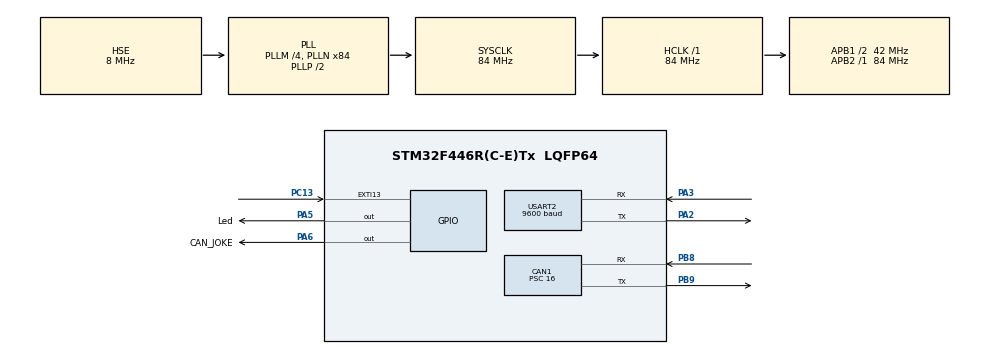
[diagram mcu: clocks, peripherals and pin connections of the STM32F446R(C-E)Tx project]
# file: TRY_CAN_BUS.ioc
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CAN1.BS1=CAN_BS1_4TQ
CAN1.BS2=CAN_BS2_2TQ
CAN1.CalculateBaudRate=375000
CAN1.CalculateTimeBit=2666.66
CAN1.CalculateTimeQuantum=380.95238095238096
CAN1.NART=ENABLE
CAN1.Prescaler=16
Mcu.Family=STM32F4
Mcu.Name=STM32F446R(C-E)Tx
Mcu.Package=LQFP64
NVIC.CAN1_RX0_IRQn=true\:0\:0\:false\:false\:true\:true\:true
NVIC.CAN1_RX1_IRQn=true\:0\:0\:false\:false\:true\:true\:true
NVIC.CAN1_SCE_IRQn=true\:0\:0\:false\:false\:true\:true\:true
NVIC.CAN1_TX_IRQn=true\:0\:0\:false\:false\:true\:true\:true
NVIC.EXTI15_10_IRQn=true\:0\:0\:false\:false\:true\:true\:true
NVIC.PriorityGroup=NVIC_PRIORITYGROUP_0
NVIC.USART2_IRQn=true\:0\:0\:false\:false\:true\:true\:true
PA2.Mode=Asynchronous
PA2.Signal=USART2_TX
PA3.Mode=Asynchronous
PA3.Signal=USART2_RX
PA5.GPIO_Label=Led
PA5.Signal=GPIO_Output
PA6.GPIO_Label=CAN_JOKE
PA6.Signal=GPIO_Output
PB8.GPIO_PuPd=GPIO_NOPULL
PB8.GPIO_Speed=GPIO_SPEED_FREQ_HIGH
PB8.Mode=CAN_Activate
PB8.Signal=CAN1_RX
PB9.Mode=CAN_Activate
PB9.Signal=CAN1_TX
PC13.GPIO_ModeDefaultEXTI=GPIO_MODE_IT_FALLING
PC13.GPIO_PuPd=GPIO_NOPULL
PC13.Signal=GPXTI13
PC14-OSC32_IN.Mode=LSE-External-Oscillator
PC14-OSC32_IN.Signal=RCC_OSC32_IN
PC15-OSC32_OUT.Mode=LSE-External-Oscillator
PC15-OSC32_OUT.Signal=RCC_OSC32_OUT
PH0-OSC_IN.Mode=HSE-External-Oscillator
PH0-OSC_IN.Signal=RCC_OSC_IN
PH1-OSC_OUT.Mode=HSE-External-Oscillator
PH1-OSC_OUT.Signal=RCC_OSC_OUT
ProjectManager.HeapSize=0x200
ProjectManager.StackSize=0x400
ProjectManager.TargetToolchain=MDK-ARM V5.27
RCC.AHBFreq_Value=84000000
RCC.APB1CLKDivider=RCC_HCLK_DIV2
RCC.APB1Freq_Value=42000000
RCC.APB1TimFreq_Value=84000000
RCC.APB2Freq_Value=84000000
RCC.APB2TimFreq_Value=84000000
RCC.CortexFreq_Value=84000000
RCC.FLatency-AdvancedSettings=FLASH_LATENCY_2
RCC.HCLKFreq_Value=84000000
RCC.HSE_VALUE=8000000
RCC.HSI_VALUE=16000000
RCC.PLLM=4
RCC.PLLN=84
RCC.PLLSourceVirtual=RCC_PLLSOURCE_HSE
RCC.SYSCLKFreq_VALUE=84000000
RCC.SYSCLKSource=RCC_SYSCLKSOURCE_PLLCLK
RCC.USBFreq_Value=84000000
RCC.VCOOutputFreq_Value=168000000
USART2.BaudRate=9600
USART2.VirtualMode=VM_ASYNC
board=NUCLEO-F446RE

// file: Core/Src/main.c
/* USER CODE BEGIN Header */
/**
  ******************************************************************************
  * @file           : main.c
  * @brief          : Main program body
  ******************************************************************************
  * @attention
  *
  * <h2><center>&copy; Copyright (c) 2021 STMicroelectronics.
  * All rights reserved.</center></h2>
  *
  * This software component is licensed by ST under BSD 3-Clause license,
  * the "License"; You may not use this file except in compliance with the
  * License. You may obtain a copy of the License at:
  *                        opensource.org/licenses/BSD-3-Clause
  *
  ******************************************************************************
  */
/* USER CODE END Header */
#include "main.h"

/* USER CODE BEGIN Includes */
#include <stdio.h>
#include <string.h>
#include <stdlib.h>
/* USER CODE END Includes */

CAN_HandleTypeDef hcan1;

UART_HandleTypeDef huart2;

/* USER CODE BEGIN PV */
CAN_TxHeaderTypeDef Theader;
CAN_RxHeaderTypeDef Rheader;
uint8_t               TxData[8];
uint8_t               RxData[8];
uint32_t              TxMailbox;
uint32_t               No_of_messages=0;
uint32_t               No_of_messages2=0;
uint32_t               No_RXof_messages2=0;
uint32_t               Pending=0;

/* USER CODE END PV */

void SystemClock_Config(void);
static void MX_GPIO_Init(void);
static void MX_CAN1_Init(void);
static void MX_USART2_UART_Init(void);

int main(void)
{
  /* USER CODE BEGIN 1 */
	  TxData[0] = 0x1;
		TxData[1] = 0x2;
  /* USER CODE END 1 */

  /* MCU Configuration--------------------------------------------------------*/

  /* Reset of all peripherals, Initializes the Flash interface and the Systick. */
  HAL_Init();

  /* Configure the system clock */
  SystemClock_Config();

  /* Initialize all configured peripherals */
  MX_GPIO_Init();
  MX_CAN1_Init();
  MX_USART2_UART_Init();
  /* USER CODE BEGIN 2 */
	if (HAL_CAN_Start(&hcan1) != HAL_OK)
  {
    /* Start Error */
    Error_Handler();
  }
	else
	{
			HAL_GPIO_WritePin(GPIOA,GPIO_PIN_5,GPIO_PIN_SET);
			HAL_Delay(1000);
			HAL_GPIO_WritePin(GPIOA,GPIO_PIN_5,GPIO_PIN_RESET);
			HAL_Delay(1000);
	}
	HAL_CAN_ActivateNotification(&hcan1, CAN_IT_RX_FIFO0_MSG_PENDING|CAN_IT_RX_FIFO1_MSG_PENDING);
  /* USER CODE END 2 */

  /* Infinite loop */
  while (1)
  {

    /* USER CODE BEGIN 3 */

		////////TRANSMITTER BOARD

  }
  /* USER CODE END 3 */
}

void SystemClock_Config(void)
{
  RCC_OscInitTypeDef RCC_OscInitStruct = {0};
  RCC_ClkInitTypeDef RCC_ClkInitStruct = {0};

  /** Configure the main internal regulator output voltage
  */
  __HAL_RCC_PWR_CLK_ENABLE();
  __HAL_PWR_VOLTAGESCALING_CONFIG(PWR_REGULATOR_VOLTAGE_SCALE3);
  /** Initializes the RCC Oscillators according to the specified parameters
  * in the RCC_OscInitTypeDef structure.
  */
  RCC_OscInitStruct.OscillatorType = RCC_OSCILLATORTYPE_HSE;
  RCC_OscInitStruct.HSEState = RCC_HSE_ON;
  RCC_OscInitStruct.PLL.PLLState = RCC_PLL_ON;
  RCC_OscInitStruct.PLL.PLLSource = RCC_PLLSOURCE_HSE;
  RCC_OscInitStruct.PLL.PLLM = 4;
  RCC_OscInitStruct.PLL.PLLN = 84;
  RCC_OscInitStruct.PLL.PLLP = RCC_PLLP_DIV2;
  RCC_OscInitStruct.PLL.PLLQ = 2;
  RCC_OscInitStruct.PLL.PLLR = 2;
  if (HAL_RCC_OscConfig(&RCC_OscInitStruct) != HAL_OK)
  {
    Error_Handler();
  }
  /** Initializes the CPU, AHB and APB buses clocks
  */
  RCC_ClkInitStruct.ClockType = RCC_CLOCKTYPE_HCLK|RCC_CLOCKTYPE_SYSCLK
                              |RCC_CLOCKTYPE_PCLK1|RCC_CLOCKTYPE_PCLK2;
  RCC_ClkInitStruct.SYSCLKSource = RCC_SYSCLKSOURCE_PLLCLK;
  RCC_ClkInitStruct.AHBCLKDivider = RCC_SYSCLK_DIV1;
  RCC_ClkInitStruct.APB1CLKDivider = RCC_HCLK_DIV2;
  RCC_ClkInitStruct.APB2CLKDivider = RCC_HCLK_DIV1;

  if (HAL_RCC_ClockConfig(&RCC_ClkInitStruct, FLASH_LATENCY_2) != HAL_OK)
  {
    Error_Handler();
  }
}

static void MX_CAN1_Init(void)
{

  /* USER CODE BEGIN CAN1_Init 0 */
	CAN_FilterTypeDef sFilterConfig;
  /* USER CODE END CAN1_Init 0 */

  hcan1.Instance = CAN1;
  hcan1.Init.Prescaler = 84;
  hcan1.Init.Mode = CAN_MODE_NORMAL;
  hcan1.Init.SyncJumpWidth = CAN_SJW_1TQ;
  hcan1.Init.TimeSeg1 = CAN_BS1_4TQ;
  hcan1.Init.TimeSeg2 = CAN_BS2_2TQ;
  hcan1.Init.TimeTriggeredMode = DISABLE;
  hcan1.Init.AutoBusOff = ENABLE;
  hcan1.Init.AutoWakeUp = DISABLE;
  hcan1.Init.AutoRetransmission = ENABLE;
  hcan1.Init.ReceiveFifoLocked = DISABLE;
  hcan1.Init.TransmitFifoPriority = DISABLE;
  if (HAL_CAN_Init(&hcan1) != HAL_OK)
  {
    Error_Handler();
  }
  /* USER CODE BEGIN CAN1_Init 2 */

	Theader.IDE = CAN_ID_STD;
	Theader.StdId = 0x11;
  Theader.RTR = CAN_RTR_DATA;
  Theader.DLC = 2;
	Theader.TransmitGlobalTime=DISABLE;

  sFilterConfig.FilterBank = 0;
  sFilterConfig.FilterMode = CAN_FILTERMODE_IDMASK;
  sFilterConfig.FilterScale = CAN_FILTERSCALE_32BIT;
  sFilterConfig.FilterIdHigh = 0x0000;
  sFilterConfig.FilterIdLow = 0x0000;
  sFilterConfig.FilterMaskIdHigh = 0x0000;
  sFilterConfig.FilterMaskIdLow = 0x0000;
  sFilterConfig.FilterFIFOAssignment = CAN_RX_FIFO0;
  sFilterConfig.FilterActivation = ENABLE;
  sFilterConfig.SlaveStartFilterBank = 14;

	  if(HAL_CAN_ConfigFilter(&hcan1, &sFilterConfig) != HAL_OK)
  {
    /* Filter configuration Error */

    Error_Handler();
  }

  /* USER CODE END CAN1_Init 2 */

}

static void MX_USART2_UART_Init(void)
{

  huart2.Instance = USART2;
  huart2.Init.BaudRate = 9600;
  huart2.Init.WordLength = UART_WORDLENGTH_8B;
  huart2.Init.StopBits = UART_STOPBITS_1;
  huart2.Init.Parity = UART_PARITY_NONE;
  huart2.Init.Mode = UART_MODE_TX_RX;
  huart2.Init.HwFlowCtl = UART_HWCONTROL_NONE;
  huart2.Init.OverSampling = UART_OVERSAMPLING_16;
  if (HAL_UART_Init(&huart2) != HAL_OK)
  {
    Error_Handler();
  }

}

static void MX_GPIO_Init(void)
{
  GPIO_InitTypeDef GPIO_InitStruct = {0};

  /* GPIO Ports Clock Enable */
  __HAL_RCC_GPIOC_CLK_ENABLE();
  __HAL_RCC_GPIOH_CLK_ENABLE();
  __HAL_RCC_GPIOA_CLK_ENABLE();
  __HAL_RCC_GPIOB_CLK_ENABLE();

  /*Configure GPIO pin Output Level */
  HAL_GPIO_WritePin(GPIOA, Led_Pin|CAN_JOKE_Pin, GPIO_PIN_RESET);

  /*Configure GPIO pin : PC13 */
  GPIO_InitStruct.Pin = GPIO_PIN_13;
  GPIO_InitStruct.Mode = GPIO_MODE_IT_FALLING;
  GPIO_InitStruct.Pull = GPIO_NOPULL;
  HAL_GPIO_Init(GPIOC, &GPIO_InitStruct);

  /*Configure GPIO pins : Led_Pin CAN_JOKE_Pin */
  GPIO_InitStruct.Pin = Led_Pin|CAN_JOKE_Pin;
  GPIO_InitStruct.Mode = GPIO_MODE_OUTPUT_PP;
  GPIO_InitStruct.Pull = GPIO_PULLUP;
  GPIO_InitStruct.Speed = GPIO_SPEED_FREQ_LOW;
  HAL_GPIO_Init(GPIOA, &GPIO_InitStruct);

  /* EXTI interrupt init*/
  HAL_NVIC_SetPriority(EXTI15_10_IRQn, 0, 0);
  HAL_NVIC_EnableIRQ(EXTI15_10_IRQn);

}

/* USER CODE BEGIN 4 */

void HAL_CAN_RxFifo0MsgPendingCallback(CAN_HandleTypeDef *hcan)
{

	HAL_CAN_GetRxMessage(&hcan1,CAN_RX_FIFO0,&Rheader,RxData);
	HAL_GPIO_WritePin(GPIOA,GPIO_PIN_6,GPIO_PIN_SET);

}

void HAL_CAN_RxFifo1MsgPendingCallback(CAN_HandleTypeDef *hcan)
{
	HAL_CAN_GetRxMessage(&hcan1,CAN_RX_FIFO0,&Rheader,RxData);
}
/* USER CODE END 4 */

void Error_Handler(void)
{
  __disable_irq();
  while (1)
  {
  }
}

/************************ (C) COPYRIGHT STMicroelectronics *****END OF FILE****/
